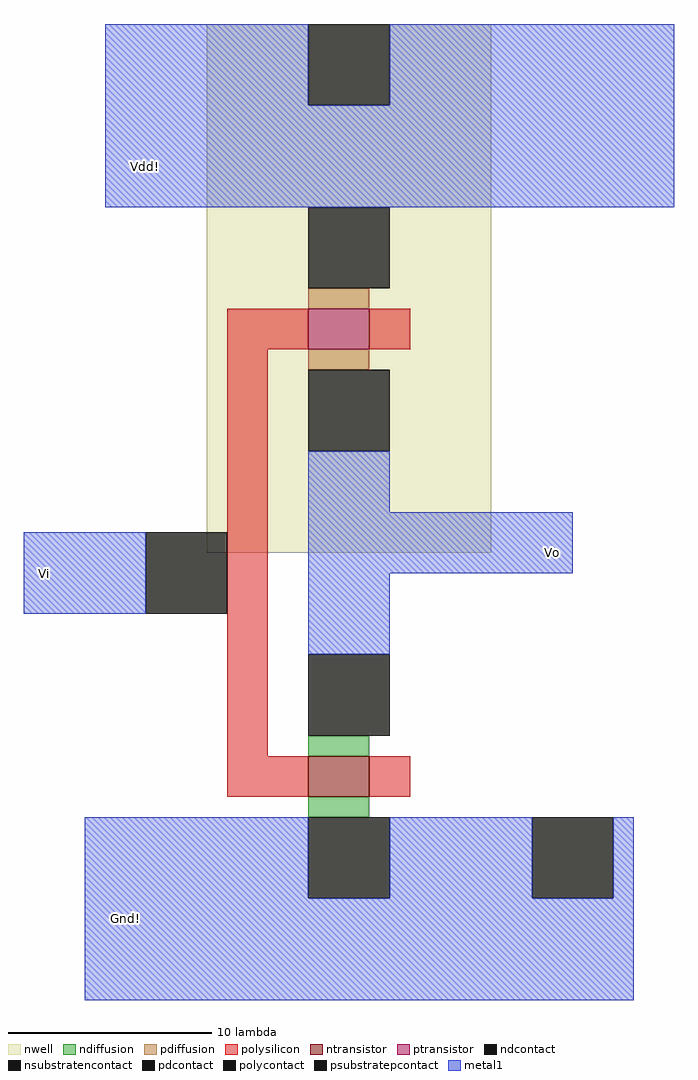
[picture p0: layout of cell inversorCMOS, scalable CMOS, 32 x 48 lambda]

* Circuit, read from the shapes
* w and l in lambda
.subckt inversorCMOS Gnd! Vdd! Vi Vo
M1 Vo Vi Gnd! Gnd! nfet w=3 l=2
M2 Vdd! Vi Vo Vdd! pfet w=3 l=2
.ends

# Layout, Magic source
magic
tech scmos
<< nwell >>
rect -3 15 11 41
<< polysilicon >>
rect -2 25 2 27
rect 5 25 7 27
rect -2 5 0 25
rect -2 3 2 5
rect 5 3 7 5
<< ndiffusion >>
rect 2 5 5 6
rect 2 2 5 3
<< pdiffusion >>
rect 2 27 5 28
rect 2 24 5 25
<< metal1 >>
rect -8 37 2 41
rect 6 37 20 41
rect -8 32 20 37
rect 2 17 6 20
rect -12 12 -6 16
rect 2 14 15 17
rect 2 10 6 14
rect -9 -2 2 2
rect 6 -2 13 2
rect 17 -2 18 2
rect -9 -7 18 -2
<< ntransistor >>
rect 2 3 5 5
<< ptransistor >>
rect 2 25 5 27
<< polycontact >>
rect -6 12 -2 16
<< ndcontact >>
rect 2 6 6 10
rect 2 -2 6 2
<< pdcontact >>
rect 2 28 6 32
rect 2 20 6 24
<< psubstratepcontact >>
rect 13 -2 17 2
<< nsubstratencontact >>
rect 2 37 6 41
<< labels >>
rlabel metal1 -6 34 -6 34 1 Vdd!
rlabel metal1 14 15 14 15 1 Vo
rlabel metal1 -11 14 -11 14 3 Vi
rlabel metal1 -7 -3 -7 -3 2 Gnd!
<< end >>
